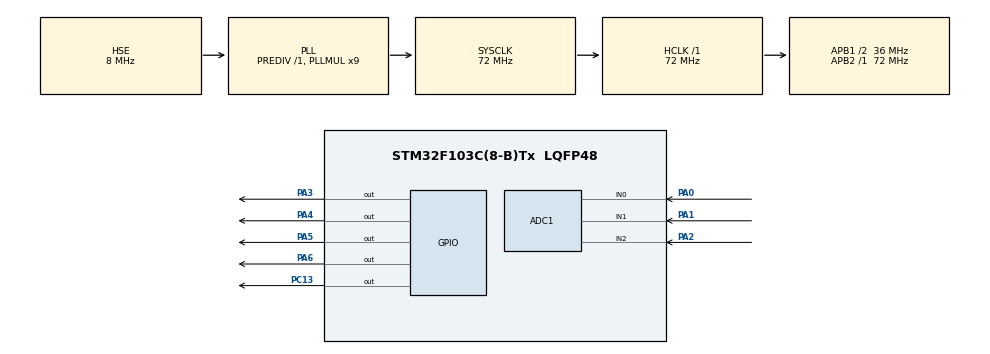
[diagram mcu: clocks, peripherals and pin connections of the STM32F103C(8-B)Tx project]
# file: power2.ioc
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ADC1.Channel-0\#ChannelRegularConversion=ADC_CHANNEL_0
ADC1.Channel-1\#ChannelRegularConversion=ADC_CHANNEL_1
ADC1.Channel-2\#ChannelRegularConversion=ADC_CHANNEL_2
ADC1.ContinuousConvMode=ENABLE
ADC1.NbrOfConversion=3
ADC1.NbrOfConversionFlag=1
ADC1.Rank-0\#ChannelRegularConversion=1
ADC1.Rank-1\#ChannelRegularConversion=2
ADC1.Rank-2\#ChannelRegularConversion=3
ADC1.SamplingTime-0\#ChannelRegularConversion=ADC_SAMPLETIME_13CYCLES_5
ADC1.SamplingTime-1\#ChannelRegularConversion=ADC_SAMPLETIME_13CYCLES_5
ADC1.SamplingTime-2\#ChannelRegularConversion=ADC_SAMPLETIME_13CYCLES_5
ADC1.master=1
Dma.ADC1.0.Direction=DMA_PERIPH_TO_MEMORY
Dma.ADC1.0.Instance=DMA1_Channel1
Dma.ADC1.0.MemDataAlignment=DMA_MDATAALIGN_WORD
Dma.ADC1.0.MemInc=DMA_MINC_ENABLE
Dma.ADC1.0.Mode=DMA_CIRCULAR
Dma.ADC1.0.PeriphDataAlignment=DMA_PDATAALIGN_WORD
Dma.ADC1.0.PeriphInc=DMA_PINC_DISABLE
Dma.ADC1.0.Priority=DMA_PRIORITY_LOW
Dma.Request0=ADC1
Mcu.Family=STM32F1
Mcu.Name=STM32F103C(8-B)Tx
Mcu.Package=LQFP48
NVIC.DMA1_Channel1_IRQn=true\:1\:0\:true\:false\:true\:false\:true
NVIC.PriorityGroup=NVIC_PRIORITYGROUP_4
NVIC.TIM3_IRQn=true\:0\:0\:false\:false\:true\:true\:true
PA0-WKUP.Signal=ADCx_IN0
PA1.Signal=ADCx_IN1
PA13.Mode=Serial_Wire
PA13.Signal=SYS_JTMS-SWDIO
PA14.Mode=Serial_Wire
PA14.Signal=SYS_JTCK-SWCLK
PA2.Signal=ADCx_IN2
PA3.GPIO_Speed=GPIO_SPEED_FREQ_HIGH
PA3.Signal=GPIO_Output
PA4.GPIO_Speed=GPIO_SPEED_FREQ_HIGH
PA4.Signal=GPIO_Output
PA5.GPIO_Speed=GPIO_SPEED_FREQ_HIGH
PA5.Signal=GPIO_Output
PA6.GPIO_Speed=GPIO_SPEED_FREQ_HIGH
PA6.Signal=GPIO_Output
PC13-TAMPER-RTC.Signal=GPIO_Output
PD0-OSC_IN.Mode=HSE-External-Oscillator
PD0-OSC_IN.Signal=RCC_OSC_IN
PD1-OSC_OUT.Mode=HSE-External-Oscillator
PD1-OSC_OUT.Signal=RCC_OSC_OUT
ProjectManager.HeapSize=0x200
ProjectManager.StackSize=0x400
ProjectManager.TargetToolchain=MDK-ARM V5
RCC.ADCPresc=RCC_ADCPCLK2_DIV8
RCC.AHBFreq_Value=72000000
RCC.APB1CLKDivider=RCC_HCLK_DIV2
RCC.APB1Freq_Value=36000000
RCC.APB1TimFreq_Value=72000000
RCC.APB2Freq_Value=72000000
RCC.APB2TimFreq_Value=72000000
RCC.HCLKFreq_Value=72000000
RCC.PLLMUL=RCC_PLL_MUL9
RCC.PLLSourceVirtual=RCC_PLLSOURCE_HSE
RCC.SYSCLKFreq_VALUE=72000000
RCC.SYSCLKSource=RCC_SYSCLKSOURCE_PLLCLK
RCC.USBFreq_Value=72000000
SH.ADCx_IN0.0=ADC1_IN0,IN0
SH.ADCx_IN1.0=ADC1_IN1,IN1
SH.ADCx_IN2.0=ADC1_IN2,IN2
TIM3.AutoReloadPreload=TIM_AUTORELOAD_PRELOAD_DISABLE
TIM3.Period=10-1
TIM3.Prescaler=36-1
VP_TIM3_VS_ClockSourceINT.Mode=Internal
board=custom

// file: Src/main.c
/* USER CODE BEGIN Header */
/**
  ******************************************************************************
  * @file           : main.c
  * @brief          : Main program body
  ******************************************************************************
  * @attention
  *
  * <h2><center>&copy; Copyright (c) 2019 STMicroelectronics.
  * All rights reserved.</center></h2>
  *
  * This software component is licensed by ST under BSD 3-Clause license,
  * the "License"; You may not use this file except in compliance with the
  * License. You may obtain a copy of the License at:
  *                        opensource.org/licenses/BSD-3-Clause
  *
  ******************************************************************************
  */
/* USER CODE END Header */

#include "main.h"

ADC_HandleTypeDef hadc1;
DMA_HandleTypeDef hdma_adc1;

TIM_HandleTypeDef htim3;

void SystemClock_Config(void);
static void MX_GPIO_Init(void);
static void MX_DMA_Init(void);
static void MX_ADC1_Init(void);
static void MX_TIM3_Init(void);

/* USER CODE BEGIN 0 */
uint32_t adcData[33];
int cap_volt_tmp;
int cap_volt;
int out_volt_tmp;
int out_volt;
int cap_ratio;
int out_ratio;
int testcnt=0;
int testans;
int I_tmp;
int I;
int I_ratio;
int begin=0;
/* USER CODE END 0 */

int main(void)
{

  /* MCU Configuration--------------------------------------------------------*/

  /* Reset of all peripherals, Initializes the Flash interface and the Systick. */
  HAL_Init();

  /* Configure the system clock */
  SystemClock_Config();

  /* Initialize all configured peripherals */
  MX_GPIO_Init();
  MX_DMA_Init();
  MX_ADC1_Init();
  MX_TIM3_Init();
  /* USER CODE BEGIN 2 */
	pid_init(0,0.1f,0.0f,0.0f,0.0f,5.0f);
	pid_init(1,0.1f,0.0f,0.0f,0.0f,5.0f);
	pid_init(2,0.01f,0.0f,0.0f,0.0f,5.0f);
	HAL_TIM_Base_Start_IT(&htim3);
	HAL_ADC_Start_DMA(&hadc1,adcData,33);
	HAL_Delay(500);
	HAL_GPIO_WritePin(GPIOC,GPIO_PIN_13,GPIO_PIN_SET);
	begin=1;
  /* USER CODE END 2 */

  /* Infinite loop */
  /* USER CODE BEGIN WHILE */
	while (1)
	{
//
////		cap_volt_tmp=0;
////		for(int i=0;i<11;i++){
////			cap_volt_tmp+=adcData[i*3];
////		}
//		cap_volt_tmp=adcData[0]+adcData[3]+adcData[6]+adcData[9]+adcData[12]+adcData[15]+adcData[18]+adcData[21]+adcData[24]+adcData[27]+adcData[30];
//		cap_volt=cap_volt_tmp/12;
////		out_volt_tmp=0;
////		for(int i=0;i<11;i++){
////			out_volt_tmp+=adcData[i*3+1];
////		}
//		out_volt_tmp=adcData[1]+adcData[4]+adcData[7]+adcData[10]+adcData[13]+adcData[16]+adcData[19]+adcData[22]+adcData[25]+adcData[28]+adcData[31];
//		out_volt=out_volt_tmp/12;

//		cap_ratio=pid_caculate(0,2600.0f,cap_volt);
//		out_ratio=pid_caculate(1,2600.0f,out_volt);

//		testans=testcnt;
//		testcnt=0;
    /* USER CODE END WHILE */

  }
}

void SystemClock_Config(void)
{
  RCC_OscInitTypeDef RCC_OscInitStruct = {0};
  RCC_ClkInitTypeDef RCC_ClkInitStruct = {0};
  RCC_PeriphCLKInitTypeDef PeriphClkInit = {0};

  /** Initializes the CPU, AHB and APB busses clocks
  */
  RCC_OscInitStruct.OscillatorType = RCC_OSCILLATORTYPE_HSE;
  RCC_OscInitStruct.HSEState = RCC_HSE_ON;
  RCC_OscInitStruct.HSEPredivValue = RCC_HSE_PREDIV_DIV1;
  RCC_OscInitStruct.HSIState = RCC_HSI_ON;
  RCC_OscInitStruct.PLL.PLLState = RCC_PLL_ON;
  RCC_OscInitStruct.PLL.PLLSource = RCC_PLLSOURCE_HSE;
  RCC_OscInitStruct.PLL.PLLMUL = RCC_PLL_MUL9;
  if (HAL_RCC_OscConfig(&RCC_OscInitStruct) != HAL_OK)
  {
    Error_Handler();
  }
  /** Initializes the CPU, AHB and APB busses clocks
  */
  RCC_ClkInitStruct.ClockType = RCC_CLOCKTYPE_HCLK|RCC_CLOCKTYPE_SYSCLK
                              |RCC_CLOCKTYPE_PCLK1|RCC_CLOCKTYPE_PCLK2;
  RCC_ClkInitStruct.SYSCLKSource = RCC_SYSCLKSOURCE_PLLCLK;
  RCC_ClkInitStruct.AHBCLKDivider = RCC_SYSCLK_DIV1;
  RCC_ClkInitStruct.APB1CLKDivider = RCC_HCLK_DIV2;
  RCC_ClkInitStruct.APB2CLKDivider = RCC_HCLK_DIV1;

  if (HAL_RCC_ClockConfig(&RCC_ClkInitStruct, FLASH_LATENCY_2) != HAL_OK)
  {
    Error_Handler();
  }
  PeriphClkInit.PeriphClockSelection = RCC_PERIPHCLK_ADC;
  PeriphClkInit.AdcClockSelection = RCC_ADCPCLK2_DIV8;
  if (HAL_RCCEx_PeriphCLKConfig(&PeriphClkInit) != HAL_OK)
  {
    Error_Handler();
  }
}

static void MX_ADC1_Init(void)
{

  ADC_ChannelConfTypeDef sConfig = {0};

  /** Common config
  */
  hadc1.Instance = ADC1;
  hadc1.Init.ScanConvMode = ADC_SCAN_ENABLE;
  hadc1.Init.ContinuousConvMode = ENABLE;
  hadc1.Init.DiscontinuousConvMode = DISABLE;
  hadc1.Init.ExternalTrigConv = ADC_SOFTWARE_START;
  hadc1.Init.DataAlign = ADC_DATAALIGN_RIGHT;
  hadc1.Init.NbrOfConversion = 3;
  if (HAL_ADC_Init(&hadc1) != HAL_OK)
  {
    Error_Handler();
  }
  /** Configure Regular Channel
  */
  sConfig.Channel = ADC_CHANNEL_0;
  sConfig.Rank = ADC_REGULAR_RANK_1;
  sConfig.SamplingTime = ADC_SAMPLETIME_13CYCLES_5;
  if (HAL_ADC_ConfigChannel(&hadc1, &sConfig) != HAL_OK)
  {
    Error_Handler();
  }
  /** Configure Regular Channel
  */
  sConfig.Channel = ADC_CHANNEL_1;
  sConfig.Rank = ADC_REGULAR_RANK_2;
  if (HAL_ADC_ConfigChannel(&hadc1, &sConfig) != HAL_OK)
  {
    Error_Handler();
  }
  /** Configure Regular Channel
  */
  sConfig.Channel = ADC_CHANNEL_2;
  sConfig.Rank = ADC_REGULAR_RANK_3;
  if (HAL_ADC_ConfigChannel(&hadc1, &sConfig) != HAL_OK)
  {
    Error_Handler();
  }

}

static void MX_TIM3_Init(void)
{

  TIM_ClockConfigTypeDef sClockSourceConfig = {0};
  TIM_MasterConfigTypeDef sMasterConfig = {0};

  htim3.Instance = TIM3;
  htim3.Init.Prescaler = 36-1;
  htim3.Init.CounterMode = TIM_COUNTERMODE_UP;
  htim3.Init.Period = 10-1;
  htim3.Init.ClockDivision = TIM_CLOCKDIVISION_DIV1;
  htim3.Init.AutoReloadPreload = TIM_AUTORELOAD_PRELOAD_DISABLE;
  if (HAL_TIM_Base_Init(&htim3) != HAL_OK)
  {
    Error_Handler();
  }
  sClockSourceConfig.ClockSource = TIM_CLOCKSOURCE_INTERNAL;
  if (HAL_TIM_ConfigClockSource(&htim3, &sClockSourceConfig) != HAL_OK)
  {
    Error_Handler();
  }
  sMasterConfig.MasterOutputTrigger = TIM_TRGO_RESET;
  sMasterConfig.MasterSlaveMode = TIM_MASTERSLAVEMODE_DISABLE;
  if (HAL_TIMEx_MasterConfigSynchronization(&htim3, &sMasterConfig) != HAL_OK)
  {
    Error_Handler();
  }

}

static void MX_DMA_Init(void)
{

  /* DMA controller clock enable */
  __HAL_RCC_DMA1_CLK_ENABLE();

  /* DMA interrupt init */
  /* DMA1_Channel1_IRQn interrupt configuration */
//  HAL_NVIC_SetPriority(DMA1_Channel1_IRQn, 1, 0);
//  HAL_NVIC_EnableIRQ(DMA1_Channel1_IRQn);

}

static void MX_GPIO_Init(void)
{
  GPIO_InitTypeDef GPIO_InitStruct = {0};

  /* GPIO Ports Clock Enable */
  __HAL_RCC_GPIOC_CLK_ENABLE();
  __HAL_RCC_GPIOD_CLK_ENABLE();
  __HAL_RCC_GPIOA_CLK_ENABLE();

  /*Configure GPIO pin Output Level */
  HAL_GPIO_WritePin(GPIOC, GPIO_PIN_13, GPIO_PIN_RESET);

  /*Configure GPIO pin Output Level */
  HAL_GPIO_WritePin(GPIOA, GPIO_PIN_3|GPIO_PIN_4|GPIO_PIN_5|GPIO_PIN_6, GPIO_PIN_RESET);

  /*Configure GPIO pin : PC13 */
  GPIO_InitStruct.Pin = GPIO_PIN_13;
  GPIO_InitStruct.Mode = GPIO_MODE_OUTPUT_PP;
  GPIO_InitStruct.Pull = GPIO_NOPULL;
  GPIO_InitStruct.Speed = GPIO_SPEED_FREQ_LOW;
  HAL_GPIO_Init(GPIOC, &GPIO_InitStruct);

  /*Configure GPIO pins : PA3 PA4 PA5 PA6 */
  GPIO_InitStruct.Pin = GPIO_PIN_3|GPIO_PIN_4|GPIO_PIN_5|GPIO_PIN_6;
  GPIO_InitStruct.Mode = GPIO_MODE_OUTPUT_PP;
  GPIO_InitStruct.Pull = GPIO_NOPULL;
  GPIO_InitStruct.Speed = GPIO_SPEED_FREQ_HIGH;
  HAL_GPIO_Init(GPIOA, &GPIO_InitStruct);

}

void Error_Handler(void)
{
}

/************************ (C) COPYRIGHT STMicroelectronics *****END OF FILE****/
